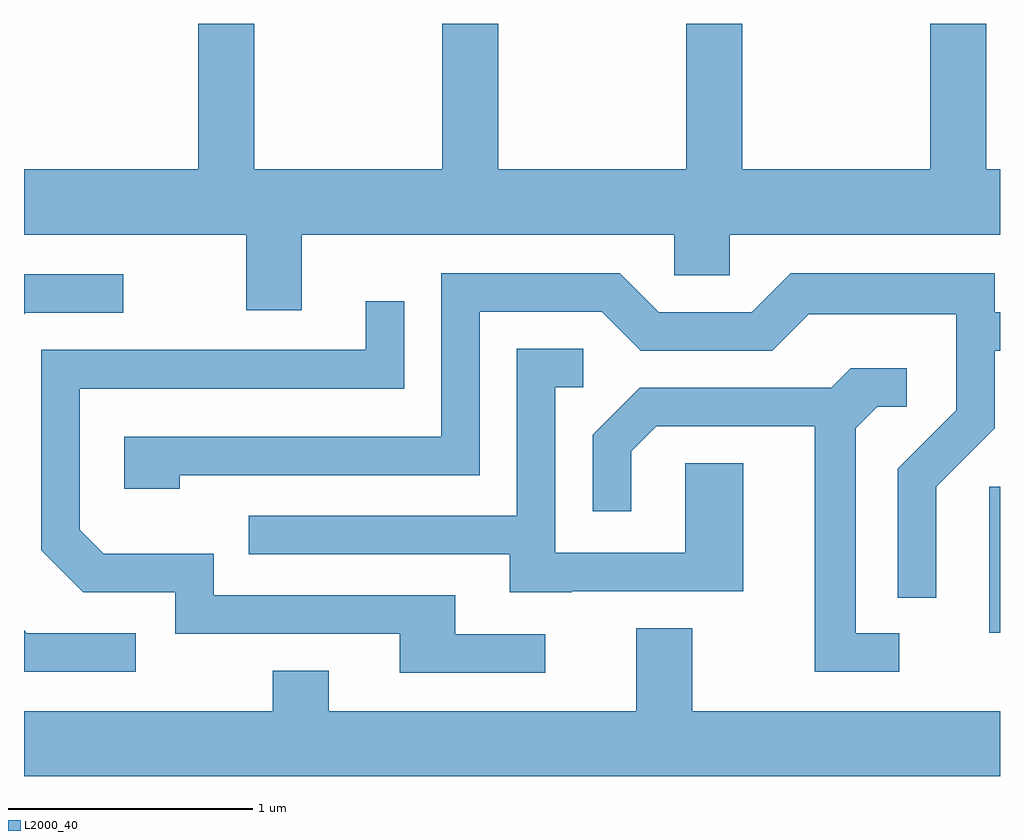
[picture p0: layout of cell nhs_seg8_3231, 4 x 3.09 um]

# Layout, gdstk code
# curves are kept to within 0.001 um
import gdstk
lib = gdstk.Library(unit=1e-6, precision=1e-09)
def R(c, l, rs):  # rectangles x0, y0, x1, y1
    for r in rs: c.add(gdstk.rectangle(r[:2], r[2:], *l))
def P(c, l, *ps):  # polygons
    for p in ps: c.add(gdstk.Polygon(p, *l))
L2000_40 = (2000, 40)

nhs_seg8_3231 = lib.new_cell('nhs_seg8_3231')
R(nhs_seg8_3231, L2000_40, [(285.566,1885.846,285.611,1886.444)])
P(nhs_seg8_3231, L2000_40, [(282.749,1887.476),(284.276,1887.476),(284.276,1887.311),(284.504,1887.311),(284.504,1887.476),(285.611,1887.476),(285.611,1887.744),(285.554,1887.744),(285.554,1888.342),(285.326,1888.342),(285.326,1887.744),(284.554,1887.744),(284.554,1888.342),(284.326,1888.342),(284.326,1887.744),(283.554,1887.744),(283.554,1888.342),(283.326,1888.342),(283.326,1887.744),(282.554,1887.744),(282.554,1888.342),(282.326,1888.342),(282.326,1887.744),(281.611,1887.744),(281.611,1887.476),(282.521,1887.476),(282.521,1887.166),(282.749,1887.166)],
  [(285.349,1886.444),(285.589,1886.684),(285.589,1887.001),(285.611,1887.001),(285.611,1887.159),(285.589,1887.159),(285.589,1887.319),(284.754,1887.319),(284.594,1887.159),(284.212,1887.159),(284.052,1887.319),(283.321,1887.319),(283.321,1886.649),(282.021,1886.649),(282.021,1886.436),(282.249,1886.436),(282.249,1886.491),(283.479,1886.491),(283.479,1887.161),(283.979,1887.161),(284.139,1887.001),(284.677,1887.001),(284.827,1887.151),(285.431,1887.151),(285.431,1886.757),(285.191,1886.517),(285.191,1885.988),(285.349,1885.988)],
  [(281.617,1887.156),(282.018,1887.156),(282.018,1887.314),(281.611,1887.314),(281.611,1887.15)],
  [(283.748,1885.839),(283.379,1885.839),(283.379,1885.999),(282.389,1885.999),(282.389,1886.169),(281.937,1886.169),(281.839,1886.267),(281.839,1886.846),(283.169,1886.846),(283.169,1887.203),(283.011,1887.203),(283.011,1887.004),(281.681,1887.004),(281.681,1886.184),(281.854,1886.011),(282.231,1886.011),(282.231,1885.841),(283.151,1885.841),(283.151,1885.681),(283.748,1885.681)],
  [(283.855,1886.016),(284.559,1886.016),(284.559,1886.539),(284.321,1886.539),(284.321,1886.174),(283.789,1886.174),(283.789,1886.851),(283.903,1886.851),(283.903,1887.009),(283.631,1887.009),(283.631,1886.324),(282.533,1886.324),(282.533,1886.166),(283.601,1886.166),(283.601,1886.011),(283.855,1886.011)],
  [(285.198,1885.844),(285.019,1885.844),(285.019,1886.684),(285.107,1886.771),(285.228,1886.771),(285.228,1886.929),(284.999,1886.929),(284.919,1886.849),(284.134,1886.849),(283.941,1886.657),(283.941,1886.343),(284.099,1886.343),(284.099,1886.589),(284.202,1886.691),(284.851,1886.691),(284.851,1885.686),(285.198,1885.686)],
  [(285.611,1885.524),(284.349,1885.524),(284.349,1885.864),(284.121,1885.864),(284.121,1885.524),(282.859,1885.524),(282.859,1885.689),(282.631,1885.689),(282.631,1885.524),(281.611,1885.524),(281.611,1885.256),(285.611,1885.256)],
  [(282.068,1885.844),(281.622,1885.844),(281.611,1885.855),(281.611,1885.686),(282.068,1885.686)])

lib.write_gds('nhs_seg8_3231.gds')
